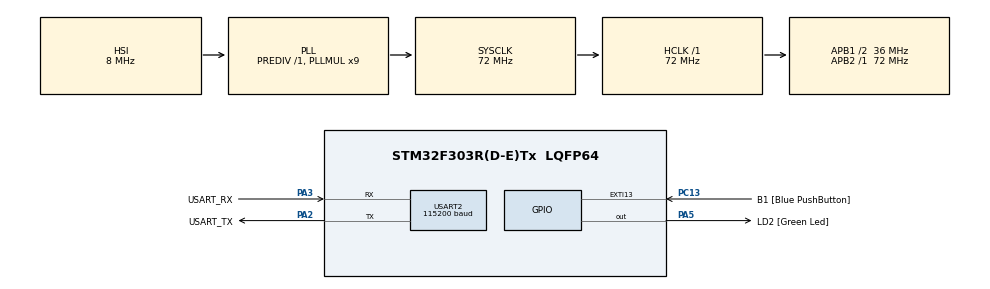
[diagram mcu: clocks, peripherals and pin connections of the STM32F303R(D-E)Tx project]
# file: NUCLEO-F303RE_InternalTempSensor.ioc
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ADC1.Channel-0\#ChannelRegularConversion=ADC_CHANNEL_TEMPSENSOR
ADC1.Channel-1\#ChannelRegularConversion=ADC_CHANNEL_VREFINT
ADC1.ClockPrescaler=ADC_CLOCK_SYNC_PCLK_DIV4
ADC1.ContinuousConvMode=ENABLE
ADC1.DMAContinuousRequests=ENABLE
ADC1.EOCSelection=ADC_EOC_SINGLE_CONV
ADC1.NbrOfConversion=2
ADC1.NbrOfConversionFlag=1
ADC1.Offset-0\#ChannelRegularConversion=0
ADC1.Offset-1\#ChannelRegularConversion=0
ADC1.OffsetNumber-0\#ChannelRegularConversion=ADC_OFFSET_NONE
ADC1.OffsetNumber-1\#ChannelRegularConversion=ADC_OFFSET_NONE
ADC1.Rank-0\#ChannelRegularConversion=1
ADC1.Rank-1\#ChannelRegularConversion=2
ADC1.SamplingTime-0\#ChannelRegularConversion=ADC_SAMPLETIME_601CYCLES_5
ADC1.SamplingTime-1\#ChannelRegularConversion=ADC_SAMPLETIME_601CYCLES_5
ADC1.SequencerNbRanks=1
ADC1.master=1
Dma.ADC1.0.Direction=DMA_PERIPH_TO_MEMORY
Dma.ADC1.0.Instance=DMA1_Channel1
Dma.ADC1.0.MemDataAlignment=DMA_MDATAALIGN_HALFWORD
Dma.ADC1.0.MemInc=DMA_MINC_ENABLE
Dma.ADC1.0.Mode=DMA_CIRCULAR
Dma.ADC1.0.PeriphDataAlignment=DMA_PDATAALIGN_HALFWORD
Dma.ADC1.0.PeriphInc=DMA_PINC_DISABLE
Dma.ADC1.0.Priority=DMA_PRIORITY_LOW
Dma.Request0=ADC1
Mcu.Family=STM32F3
Mcu.Name=STM32F303R(D-E)Tx
Mcu.Package=LQFP64
NVIC.ADC1_2_IRQn=true\:0\:0\:false\:false\:true\:true\:true\:true
NVIC.DMA1_Channel1_IRQn=true\:0\:0\:false\:false\:true\:false\:true\:true
NVIC.PriorityGroup=NVIC_PRIORITYGROUP_0
PA13.GPIO_Label=TMS
PA13.Mode=Serial_Wire
PA13.Signal=SYS_JTMS-SWDIO
PA14.GPIO_Label=TCK
PA14.Mode=Serial_Wire
PA14.Signal=SYS_JTCK-SWCLK
PA2.GPIO_Label=USART_TX
PA2.GPIO_Mode=GPIO_MODE_AF_PP
PA2.GPIO_PuPd=GPIO_NOPULL
PA2.GPIO_Speed=GPIO_SPEED_FREQ_LOW
PA2.Mode=Asynchronous
PA2.Signal=USART2_TX
PA3.GPIO_Label=USART_RX
PA3.GPIO_Mode=GPIO_MODE_AF_PP
PA3.GPIO_PuPd=GPIO_NOPULL
PA3.GPIO_Speed=GPIO_SPEED_FREQ_LOW
PA3.Mode=Asynchronous
PA3.Signal=USART2_RX
PA5.GPIO_Label=LD2 [Green Led]
PA5.GPIO_Mode=GPIO_MODE_OUTPUT_PP
PA5.GPIO_PuPd=GPIO_NOPULL
PA5.GPIO_Speed=GPIO_SPEED_FREQ_LOW
PA5.Signal=GPIO_Output
PB3.GPIO_Label=SWO
PB3.Signal=SYS_JTDO-TRACESWO
PC13.GPIO_Label=B1 [Blue PushButton]
PC13.GPIO_ModeDefaultEXTI=GPIO_MODE_IT_FALLING
PC13.Signal=GPXTI13
PC14-OSC32_IN.Mode=LSE-External-Oscillator
PC14-OSC32_IN.Signal=RCC_OSC32_IN
PC15-OSC32_OUT.Mode=LSE-External-Oscillator
PC15-OSC32_OUT.Signal=RCC_OSC32_OUT
PF0-OSC_IN.Mode=HSE-External-Clock-Source
PF0-OSC_IN.Signal=RCC_OSC_IN
PF1-OSC_OUT.Signal=RCC_OSC_OUT
ProjectManager.HeapSize=0x200
ProjectManager.StackSize=0x400
ProjectManager.TargetToolchain=CMake
RCC.AHBFreq_Value=72000000
RCC.APB1CLKDivider=RCC_HCLK_DIV2
RCC.APB1Freq_Value=36000000
RCC.APB1TimFreq_Value=72000000
RCC.APB2Freq_Value=72000000
RCC.APB2TimFreq_Value=72000000
RCC.CortexFreq_Value=72000000
RCC.HCLKFreq_Value=72000000
RCC.HSE_VALUE=8000000
RCC.HSI_VALUE=8000000
RCC.PLLM=8
RCC.PLLMUL=RCC_PLL_MUL9
RCC.PLLN=336
RCC.PLLP=RCC_PLLP_DIV4
RCC.PLLQ=7
RCC.RCC_PLLsource_Clock_Source_FROM_HSE=RCC_HSE_PREDIV_DIV2
RCC.SYSCLKFreq_VALUE=72000000
RCC.SYSCLKSourceVirtual=RCC_SYSCLKSOURCE_PLLCLK
RCC.USBFreq_Value=72000000
USART2.BaudRate=115200
USART2.VirtualMode-Asynchronous=VM_ASYNC
VP_ADC1_TempSens_Input.Mode=IN-TempSens
VP_ADC1_Vref_Input.Mode=IN-Vrefint
board=NUCLEO-F303RE

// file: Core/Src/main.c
/* USER CODE BEGIN Header */
/**
  ******************************************************************************
  * @file           : main.c
  * @brief          : Main program body
  ******************************************************************************
  * @attention
  *
  * Copyright (c) 2026 STMicroelectronics.
  * All rights reserved.
  *
  * This software is licensed under terms that can be found in the LICENSE file
  * in the root directory of this software component.
  * If no LICENSE file comes with this software, it is provided AS-IS.
  *
  ******************************************************************************
  */
/* USER CODE END Header */
#include "main.h"

/* USER CODE BEGIN Includes */
#include <stdio.h>
#include <string.h>
/* USER CODE END Includes */

/* USER CODE BEGIN PD */
#define TS_CAL1_ADDR        ((uint16_t*)0x1FFFF7B8)
#define TS_CAL2_ADDR        ((uint16_t*)0x1FFFF7C2)
#define VREFINT_CAL_ADDR    ((uint16_t*)0x1FFFF7BA)
/* USER CODE END PD */

ADC_HandleTypeDef hadc1;
DMA_HandleTypeDef hdma_adc1;

UART_HandleTypeDef huart2;

/* USER CODE BEGIN PV */

// Arreglo para almacenar las lecturas de los 2 canales configurados (Rank 1 y Rank 2)
char msg[32];
uint16_t adcBuffer[2];

volatile uint8_t isConversionCompleted = 0;

double temperature = 0.0;
/* USER CODE END PV */

void SystemClock_Config(void);
static void MX_GPIO_Init(void);
static void MX_DMA_Init(void);
static void MX_USART2_UART_Init(void);
static void MX_ADC1_Init(void);

int main(void)
{

  /* MCU Configuration--------------------------------------------------------*/

  /* Reset of all peripherals, Initializes the Flash interface and the Systick. */
  HAL_Init();

  /* Configure the system clock */
  SystemClock_Config();

  /* Initialize all configured peripherals */
  MX_GPIO_Init();
  MX_DMA_Init();
  MX_USART2_UART_Init();
  MX_ADC1_Init();
  /* USER CODE BEGIN 2 */
  HAL_ADCEx_Calibration_Start(&hadc1, ADC_SINGLE_ENDED);
  HAL_ADC_Start_DMA(&hadc1, (uint32_t*)adcBuffer, 2);
  /* USER CODE END 2 */

  /* Infinite loop */
  /* USER CODE BEGIN WHILE */
  while (1)
  {
    // Limpiar la bandera para esperar el siguiente ciclo
    if (isConversionCompleted)
    {
        isConversionCompleted = 0;

        uint16_t rawTemp = adcBuffer[0];
        uint16_t rawVref = adcBuffer[1];

        uint16_t tsCal1 = *TS_CAL1_ADDR;
        uint16_t tsCal2 = *TS_CAL2_ADDR;
        uint16_t VrefintCal = *VREFINT_CAL_ADDR;

        if (rawVref > 0)
        {
            // Compensar el valor analógico leído del sensor de temperatura por variaciones de VDDA
            double adcTempScaled = (double)rawTemp * ((double)VrefintCal / (double)rawVref);

            // Calcular la temperatura real mediante la interpolación lineal (30 °C a 110 °C)
            temperature = ((110.0 - 30.0) / (double)(tsCal2 - tsCal1)) * (adcTempScaled - (double)tsCal1) + 30.0;

            // Formatear la cadena y transmitirla por el puerto serie USART2 (Virtual COM)
            snprintf(msg, sizeof(msg), "Temp: %.2f C\r\n", temperature);
            HAL_UART_Transmit(&huart2, (uint8_t*)msg, strlen(msg), HAL_MAX_DELAY);
        }
        // Retardo de 1 segundo para no inundar la consola serial.
        // (Nota: Durante este segundo, el hardware del ADC y el DMA siguen actualizando
        // el arreglo adc_buffer en segundo plano sin intervención del CPU).
        HAL_Delay(1000);
    }
    /* USER CODE END WHILE */

  }
}

void SystemClock_Config(void)
{
  RCC_OscInitTypeDef RCC_OscInitStruct = {0};
  RCC_ClkInitTypeDef RCC_ClkInitStruct = {0};
  RCC_PeriphCLKInitTypeDef PeriphClkInit = {0};

  /** Initializes the RCC Oscillators according to the specified parameters
  * in the RCC_OscInitTypeDef structure.
  */
  RCC_OscInitStruct.OscillatorType = RCC_OSCILLATORTYPE_HSI;
  RCC_OscInitStruct.HSIState = RCC_HSI_ON;
  RCC_OscInitStruct.HSICalibrationValue = RCC_HSICALIBRATION_DEFAULT;
  RCC_OscInitStruct.PLL.PLLState = RCC_PLL_ON;
  RCC_OscInitStruct.PLL.PLLSource = RCC_PLLSOURCE_HSI;
  RCC_OscInitStruct.PLL.PLLMUL = RCC_PLL_MUL9;
  RCC_OscInitStruct.PLL.PREDIV = RCC_PREDIV_DIV1;
  if (HAL_RCC_OscConfig(&RCC_OscInitStruct) != HAL_OK)
  {
    Error_Handler();
  }

  /** Initializes the CPU, AHB and APB buses clocks
  */
  RCC_ClkInitStruct.ClockType = RCC_CLOCKTYPE_HCLK|RCC_CLOCKTYPE_SYSCLK
                              |RCC_CLOCKTYPE_PCLK1|RCC_CLOCKTYPE_PCLK2;
  RCC_ClkInitStruct.SYSCLKSource = RCC_SYSCLKSOURCE_PLLCLK;
  RCC_ClkInitStruct.AHBCLKDivider = RCC_SYSCLK_DIV1;
  RCC_ClkInitStruct.APB1CLKDivider = RCC_HCLK_DIV2;
  RCC_ClkInitStruct.APB2CLKDivider = RCC_HCLK_DIV1;

  if (HAL_RCC_ClockConfig(&RCC_ClkInitStruct, FLASH_LATENCY_2) != HAL_OK)
  {
    Error_Handler();
  }
  PeriphClkInit.PeriphClockSelection = RCC_PERIPHCLK_USART2;
  PeriphClkInit.Usart2ClockSelection = RCC_USART2CLKSOURCE_PCLK1;
  if (HAL_RCCEx_PeriphCLKConfig(&PeriphClkInit) != HAL_OK)
  {
    Error_Handler();
  }
}

static void MX_ADC1_Init(void)
{

  ADC_MultiModeTypeDef multimode = {0};
  ADC_ChannelConfTypeDef sConfig = {0};

  /** Common config
  */
  hadc1.Instance = ADC1;
  hadc1.Init.ClockPrescaler = ADC_CLOCK_SYNC_PCLK_DIV4;
  hadc1.Init.Resolution = ADC_RESOLUTION_12B;
  hadc1.Init.ScanConvMode = ADC_SCAN_ENABLE;
  hadc1.Init.ContinuousConvMode = ENABLE;
  hadc1.Init.DiscontinuousConvMode = DISABLE;
  hadc1.Init.ExternalTrigConvEdge = ADC_EXTERNALTRIGCONVEDGE_NONE;
  hadc1.Init.ExternalTrigConv = ADC_SOFTWARE_START;
  hadc1.Init.DataAlign = ADC_DATAALIGN_RIGHT;
  hadc1.Init.NbrOfConversion = 2;
  hadc1.Init.DMAContinuousRequests = ENABLE;
  hadc1.Init.EOCSelection = ADC_EOC_SINGLE_CONV;
  hadc1.Init.LowPowerAutoWait = DISABLE;
  hadc1.Init.Overrun = ADC_OVR_DATA_OVERWRITTEN;
  if (HAL_ADC_Init(&hadc1) != HAL_OK)
  {
    Error_Handler();
  }

  /** Configure the ADC multi-mode
  */
  multimode.Mode = ADC_MODE_INDEPENDENT;
  if (HAL_ADCEx_MultiModeConfigChannel(&hadc1, &multimode) != HAL_OK)
  {
    Error_Handler();
  }

  /** Configure Regular Channel
  */
  sConfig.Channel = ADC_CHANNEL_TEMPSENSOR;
  sConfig.Rank = ADC_REGULAR_RANK_1;
  sConfig.SingleDiff = ADC_SINGLE_ENDED;
  sConfig.SamplingTime = ADC_SAMPLETIME_601CYCLES_5;
  sConfig.OffsetNumber = ADC_OFFSET_NONE;
  sConfig.Offset = 0;
  if (HAL_ADC_ConfigChannel(&hadc1, &sConfig) != HAL_OK)
  {
    Error_Handler();
  }

  /** Configure Regular Channel
  */
  sConfig.Channel = ADC_CHANNEL_VREFINT;
  sConfig.Rank = ADC_REGULAR_RANK_2;
  if (HAL_ADC_ConfigChannel(&hadc1, &sConfig) != HAL_OK)
  {
    Error_Handler();
  }

}

static void MX_USART2_UART_Init(void)
{

  huart2.Instance = USART2;
  huart2.Init.BaudRate = 115200;
  huart2.Init.WordLength = UART_WORDLENGTH_8B;
  huart2.Init.StopBits = UART_STOPBITS_1;
  huart2.Init.Parity = UART_PARITY_NONE;
  huart2.Init.Mode = UART_MODE_TX_RX;
  huart2.Init.HwFlowCtl = UART_HWCONTROL_NONE;
  huart2.Init.OverSampling = UART_OVERSAMPLING_16;
  huart2.Init.OneBitSampling = UART_ONE_BIT_SAMPLE_DISABLE;
  huart2.AdvancedInit.AdvFeatureInit = UART_ADVFEATURE_NO_INIT;
  if (HAL_UART_Init(&huart2) != HAL_OK)
  {
    Error_Handler();
  }

}

static void MX_DMA_Init(void)
{

  /* DMA controller clock enable */
  __HAL_RCC_DMA1_CLK_ENABLE();

  /* DMA interrupt init */
  /* DMA1_Channel1_IRQn interrupt configuration */
  HAL_NVIC_SetPriority(DMA1_Channel1_IRQn, 0, 0);
  HAL_NVIC_EnableIRQ(DMA1_Channel1_IRQn);

}

static void MX_GPIO_Init(void)
{
  GPIO_InitTypeDef GPIO_InitStruct = {0};

  /* GPIO Ports Clock Enable */
  __HAL_RCC_GPIOC_CLK_ENABLE();
  __HAL_RCC_GPIOF_CLK_ENABLE();
  __HAL_RCC_GPIOA_CLK_ENABLE();
  __HAL_RCC_GPIOB_CLK_ENABLE();

  /*Configure GPIO pin Output Level */
  HAL_GPIO_WritePin(LD2_GPIO_Port, LD2_Pin, GPIO_PIN_RESET);

  /*Configure GPIO pin : B1_Pin */
  GPIO_InitStruct.Pin = B1_Pin;
  GPIO_InitStruct.Mode = GPIO_MODE_IT_FALLING;
  GPIO_InitStruct.Pull = GPIO_NOPULL;
  HAL_GPIO_Init(B1_GPIO_Port, &GPIO_InitStruct);

  /*Configure GPIO pin : LD2_Pin */
  GPIO_InitStruct.Pin = LD2_Pin;
  GPIO_InitStruct.Mode = GPIO_MODE_OUTPUT_PP;
  GPIO_InitStruct.Pull = GPIO_NOPULL;
  GPIO_InitStruct.Speed = GPIO_SPEED_FREQ_LOW;
  HAL_GPIO_Init(LD2_GPIO_Port, &GPIO_InitStruct);

}

/* USER CODE BEGIN 4 */
void HAL_ADC_ConvCpltCallback(ADC_HandleTypeDef *hadc)
{
    isConversionCompleted = 1;
}
/* USER CODE END 4 */

void Error_Handler(void)
{
  __disable_irq();
  while (1)
  {
  }
}
